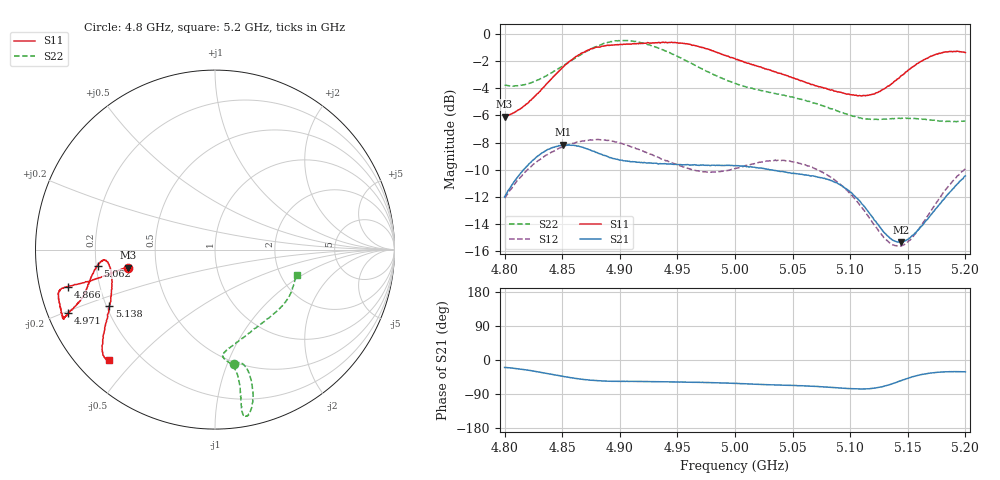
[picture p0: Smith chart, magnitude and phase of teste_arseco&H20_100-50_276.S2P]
! Network Analyzer HP8722D
! Hewlett-Packard
! Data name: Linha & Wilkinson
! Saver's name: Rodrigo Anjos
! Comments: Teste da utilização de aquisição
! continua pelo VNA HP8722D
! Time and date: 6/5/2025 14:52
!  Frequency  S11  S21  S12  S22
# HZ  S  MA R 50
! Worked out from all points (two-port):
!   401 points, 4.8 GHz to 5.2 GHz, reference 50 ohm
!   highest |S21| = -8.16 dB at 4.851 GHz (marker M1); lowest = -15.3 dB at 5.144 GHz (marker M2)
!   |S21| within 3 dB of the highest: 4.806 GHz to 5.093 GHz (286.6 MHz wide, 5.79 % of centre); 5.191649 GHz to end of sweep
!   lowest |S11| = -6.1 dB at 4.8 GHz (marker M3), VSWR 2.97, Z = 17 - j4.57 ohm
!   |S11| at or under -10 dB: nowhere
!   |S22| runs from -6.5 to -0.5 dB; largest |S21 - S12| = 0.62
!   S11 on the Smith chart (normalised r, x): 4.8 GHz: 0.34, -0.09; 4.866 GHz: 0.09, -0.12; 4.971 GHz: 0.06, -0.21; 5.062 GHz: 0.21, -0.06; 5.138 GHz: 0.21, -0.24; 5.2 GHz: 0.09, -0.42
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4.8e9  0.4963 -168.2  0.2518 -19.6  0.2489 -140.9  0.6469 -80.4
4.823e9  0.5706 -167.5  0.3375 -28.1  0.325 -143.8  0.6603 -76.0
4.851e9  0.7558 -165.8  0.3907 -43.4  0.3845 -149.3  0.7652 -74.6
4.866e9  0.844 -165.9  0.384 -50.3  0.402 -151.8  0.8359 -75.3
4.867e9  0.8503 -165.9  0.3834 -50.9  0.403 -152.0  0.8433 -75.4
4.88e9  0.8922 -165.4  0.3661 -54.6  0.4086 -154.2  0.8994 -76.7
4.899e9  0.9115 -162.8  0.3443 -56.5  0.3976 -156.6  0.9435 -79.1
4.934e9  0.9296 -156.5  0.3324 -57.6  0.3507 -155.6  0.8828 -80.5
4.949e9  0.9265 -155.4  0.3313 -57.9  0.3314 -153.0  0.83 -80.2
4.971e9  0.8903 -156.5  0.3288 -59.2  0.3121 -146.5  0.7449 -79.6
5e9  0.8111 -159.0  0.3276 -61.8  0.3197 -137.2  0.657 -81.3
5.036e9  0.7215 -165.6  0.3138 -65.9  0.3415 -134.5  0.6012 -85.7
5.062e9  0.6606 -172.3  0.3024 -68.6  0.3281 -136.3  0.5668 -83.8
5.067e9  0.6508 -173.1  0.3006 -69.1  0.3232 -136.8  0.5578 -82.6
5.083e9  0.62 -174.5  0.2889 -72.3  0.2971 -138.3  0.5304 -76.7
5.1e9  0.5971 -172.3  0.2618 -75.6  0.258 -138.8  0.5022 -67.2
5.116e9  0.5947 -165.4  0.221 -76.0  0.2125 -135.5  0.4855 -55.8
5.134e9  0.6443 -154.2  0.1783 -65.3  0.1707 -120.7  0.4872 -43.2
5.138e9  0.6663 -152.0  0.1736 -61.1  0.1669 -115.6  0.487 -40.8
5.144e9  0.6994 -148.9  0.1715 -54.6  0.1657 -107.6  0.4883 -37.5
5.173e9  0.8352 -138.8  0.2235 -33.2  0.2326 -80.8  0.4813 -24.3
5.2e9  0.8524 -133.7  0.3003 -31.4  0.3189 -76.9  0.4766 -17.6
